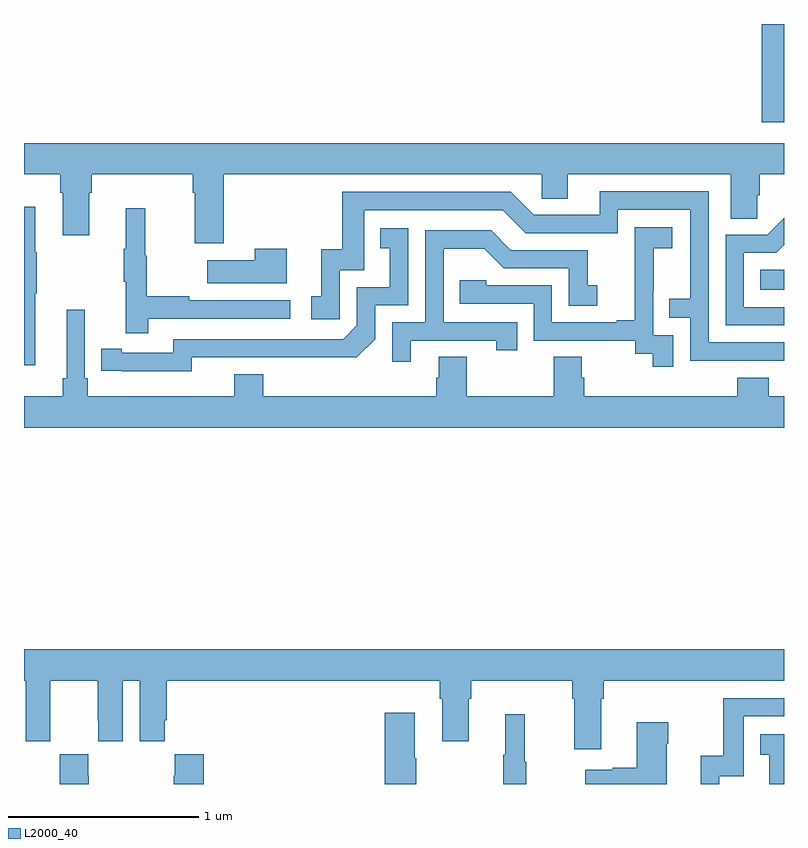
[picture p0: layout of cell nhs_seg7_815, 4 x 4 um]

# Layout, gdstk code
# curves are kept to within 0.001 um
import gdstk
lib = gdstk.Library(unit=1e-6, precision=1e-09)
def R(c, l, rs):  # rectangles x0, y0, x1, y1
    for r in rs: c.add(gdstk.rectangle(r[:2], r[2:], *l))
def P(c, l, *ps):  # polygons
    for p in ps: c.add(gdstk.Polygon(p, *l))
L2000_40 = (2000, 40)

nhs_seg7_815 = lib.new_cell('nhs_seg7_815')
R(nhs_seg7_815, L2000_40, [(174.874,1074.602,175,1074.706), (174.883,1075.482,175,1076)])
P(nhs_seg7_815, L2000_40, [(172.052,1075.208),(173.724,1075.208),(173.724,1075.081),(173.863,1075.081),(173.863,1075.208),(174.719,1075.208),(174.719,1074.976),(174.858,1074.976),(174.858,1075.099),(174.872,1075.099),(174.872,1075.208),(175,1075.208),(175,1075.372),(171,1075.372),(171,1075.208),(171.191,1075.208),(171.191,1075.112),(171.203,1075.112),(171.203,1074.888),(171.343,1074.888),(171.343,1075.112),(171.356,1075.112),(171.356,1075.208),(171.887,1075.208),(171.887,1075.112),(171.899,1075.112),(171.899,1074.846),(172.052,1074.846)],
  [(175,1074.324),(174.603,1074.324),(174.603,1075.119),(174.029,1075.119),(174.029,1074.996),(173.682,1074.996),(173.562,1075.116),(172.675,1075.116),(172.675,1074.814),(172.565,1074.814),(172.565,1074.567),(172.512,1074.567),(172.512,1074.447),(172.662,1074.447),(172.662,1074.705),(172.791,1074.705),(172.791,1075.02),(173.52,1075.02),(173.64,1074.9),(174.126,1074.9),(174.126,1075.023),(174.507,1075.023),(174.507,1074.554),(174.397,1074.554),(174.397,1074.453),(174.507,1074.453),(174.507,1074.228),(175,1074.228)],
  [(171.058,1074.583),(171.066,1074.583),(171.066,1074.8),(171.058,1074.8),(171.058,1075.039),(171,1075.039),(171,1074.204),(171.058,1074.204)],
  [(171.653,1074.45),(172.402,1074.45),(172.402,1074.546),(171.869,1074.546),(171.869,1074.566),(171.646,1074.566),(171.646,1074.78),(171.638,1074.78),(171.638,1075.03),(171.536,1075.03),(171.536,1074.817),(171.525,1074.817),(171.525,1074.643),(171.536,1074.643),(171.536,1074.372),(171.653,1074.372)],
  [(175,1074.51),(174.789,1074.51),(174.789,1074.795),(174.958,1074.795),(175,1074.837),(175,1074.979),(174.912,1074.891),(174.693,1074.891),(174.693,1074.414),(175,1074.414)],
  [(174.417,1074.363),(174.312,1074.363),(174.312,1074.593),(174.314,1074.593),(174.314,1074.821),(174.412,1074.821),(174.412,1074.931),(174.214,1074.931),(174.214,1074.725),(174.215,1074.725),(174.215,1074.442),(174.119,1074.442),(174.119,1074.429),(173.778,1074.429),(173.778,1074.624),(173.433,1074.624),(173.433,1074.651),(173.293,1074.651),(173.293,1074.528),(173.682,1074.528),(173.682,1074.333),(174.216,1074.333),(174.216,1074.265),(174.309,1074.265),(174.309,1074.195),(174.417,1074.195)],
  [(171.882,1074.246),(172.75,1074.245),(172.848,1074.342),(172.848,1074.519),(173.022,1074.519),(173.022,1074.925),(172.876,1074.925),(172.876,1074.819),(172.925,1074.819),(172.925,1074.615),(172.752,1074.615),(172.752,1074.414),(172.68,1074.342),(171.786,1074.342),(171.786,1074.27),(171.514,1074.27),(171.514,1074.29),(171.406,1074.29),(171.406,1074.174),(171.882,1074.173)],
  [(173.035,1074.333),(173.486,1074.333),(173.486,1074.282),(173.597,1074.282),(173.597,1074.429),(173.208,1074.429),(173.208,1074.818),(173.422,1074.818),(173.526,1074.714),(173.868,1074.714),(173.868,1074.516),(174.016,1074.516),(174.016,1074.625),(173.967,1074.625),(173.967,1074.81),(173.563,1074.81),(173.458,1074.915),(173.112,1074.915),(173.112,1074.429),(172.938,1074.429),(172.938,1074.222),(173.035,1074.222)],
  [(172.384,1074.817),(172.214,1074.817),(172.214,1074.757),(171.965,1074.757),(171.965,1074.635),(172.384,1074.635)],
  [(175,1074.04),(174.92,1074.04),(174.92,1074.139),(174.755,1074.139),(174.755,1074.04),(173.948,1074.04),(173.948,1074.138),(173.935,1074.138),(173.935,1074.248),(173.788,1074.248),(173.788,1074.04),(173.331,1074.04),(173.331,1074.248),(173.183,1074.248),(173.183,1074.138),(173.171,1074.138),(173.171,1074.04),(172.259,1074.04),(172.259,1074.157),(172.106,1074.157),(172.106,1074.04),(171.335,1074.04),(171.335,1074.136),(171.321,1074.136),(171.321,1074.496),(171.224,1074.496),(171.224,1074.136),(171.205,1074.136),(171.205,1074.04),(171,1074.04),(171,1073.876),(175,1073.876)],
  [(174.037,1072.448),(174.05,1072.448),(174.05,1072.544),(175,1072.544),(175,1072.708),(171,1072.708),(171,1072.544),(171.008,1072.544),(171.008,1072.224),(171.138,1072.224),(171.138,1072.336),(171.139,1072.336),(171.139,1072.544),(171.389,1072.544),(171.389,1072.336),(171.39,1072.336),(171.39,1072.224),(171.52,1072.224),(171.52,1072.544),(171.608,1072.544),(171.608,1072.224),(171.742,1072.224),(171.742,1072.336),(171.752,1072.336),(171.752,1072.544),(173.189,1072.544),(173.189,1072.448),(173.201,1072.448),(173.201,1072.224),(173.341,1072.224),(173.341,1072.448),(173.354,1072.448),(173.354,1072.544),(173.885,1072.544),(173.885,1072.448),(173.897,1072.448),(173.897,1072.182),(174.037,1072.182)],
  [(174.66,1072.041),(174.789,1072.041),(174.789,1072.356),(175,1072.356),(175,1072.452),(174.681,1072.452),(174.681,1072.15),(174.563,1072.15),(174.563,1072),(174.66,1072)],
  [(173.064,1072.136),(173.056,1072.136),(173.056,1072.375),(172.898,1072.375),(172.898,1072),(173.064,1072)],
  [(173.644,1072.116),(173.636,1072.116),(173.636,1072.366),(173.534,1072.366),(173.534,1072.153),(173.523,1072.153),(173.523,1072),(173.644,1072)],
  [(174.382,1072.211),(174.39,1072.211),(174.39,1072.324),(174.224,1072.324),(174.224,1072.085),(174.098,1072.085),(174.098,1072.075),(173.955,1072.075),(173.955,1072),(174.382,1072)],
  [(175,1072.261),(174.874,1072.261),(174.874,1072.155),(174.923,1072.155),(174.923,1072),(175,1072)],
  [(171.947,1072.156),(171.793,1072.156),(171.793,1072.043),(171.787,1072.043),(171.787,1072),(171.947,1072)],
  [(171.342,1072.043),(171.339,1072.043),(171.339,1072.156),(171.189,1072.156),(171.189,1072.043),(171.187,1072.043),(171.187,1072),(171.342,1072)])

lib.write_gds('nhs_seg7_815.gds')
